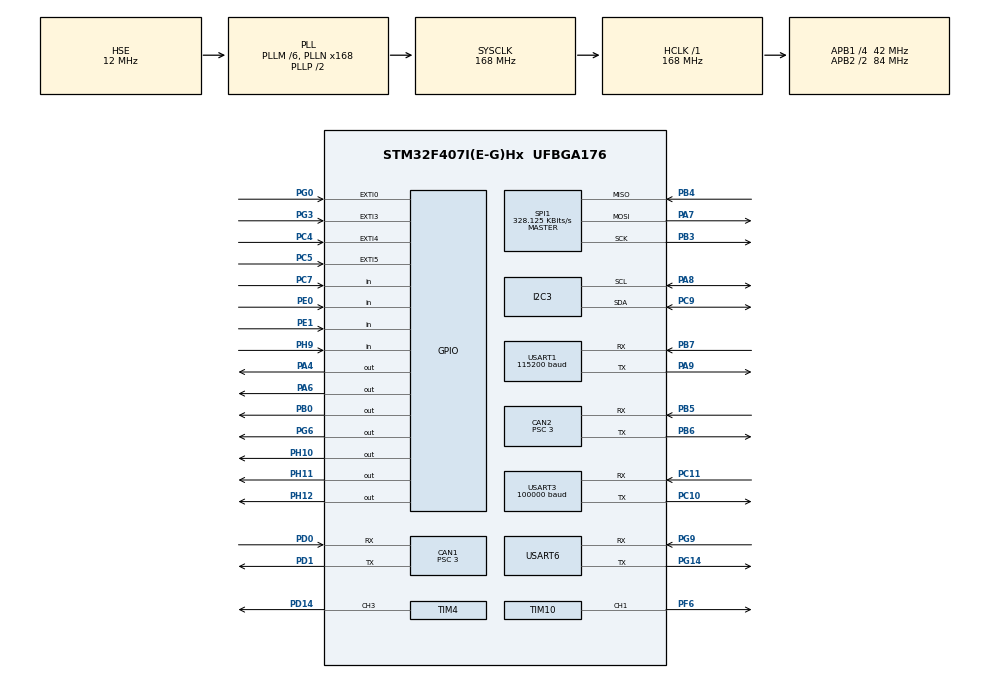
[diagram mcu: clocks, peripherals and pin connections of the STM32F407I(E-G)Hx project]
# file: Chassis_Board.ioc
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CAN1.BS1=CAN_BS1_10TQ
CAN1.BS2=CAN_BS2_3TQ
CAN1.CalculateBaudRate=1000000
CAN1.CalculateTimeBit=1000
CAN1.CalculateTimeQuantum=71.42857142857143
CAN1.Prescaler=3
CAN1.SJW=CAN_SJW_1TQ
CAN2.BS1=CAN_BS1_10TQ
CAN2.BS2=CAN_BS2_3TQ
CAN2.CalculateBaudRate=1000000
CAN2.CalculateTimeBit=1000
CAN2.CalculateTimeQuantum=71.42857142857143
CAN2.Prescaler=3
Dma.Request0=SPI1_RX
Dma.Request1=SPI1_TX
Dma.Request2=USART3_RX
Dma.Request3=USART6_RX
Dma.Request4=USART6_TX
Dma.Request5=USART1_TX
Dma.Request6=USART1_RX
Dma.SPI1_RX.0.Direction=DMA_PERIPH_TO_MEMORY
Dma.SPI1_RX.0.FIFOMode=DMA_FIFOMODE_DISABLE
Dma.SPI1_RX.0.Instance=DMA2_Stream2
Dma.SPI1_RX.0.MemDataAlignment=DMA_MDATAALIGN_BYTE
Dma.SPI1_RX.0.MemInc=DMA_MINC_ENABLE
Dma.SPI1_RX.0.Mode=DMA_NORMAL
Dma.SPI1_RX.0.PeriphDataAlignment=DMA_PDATAALIGN_BYTE
Dma.SPI1_RX.0.PeriphInc=DMA_PINC_DISABLE
Dma.SPI1_RX.0.Priority=DMA_PRIORITY_VERY_HIGH
Dma.SPI1_TX.1.Direction=DMA_MEMORY_TO_PERIPH
Dma.SPI1_TX.1.FIFOMode=DMA_FIFOMODE_DISABLE
Dma.SPI1_TX.1.Instance=DMA2_Stream3
Dma.SPI1_TX.1.MemDataAlignment=DMA_MDATAALIGN_BYTE
Dma.SPI1_TX.1.MemInc=DMA_MINC_ENABLE
Dma.SPI1_TX.1.Mode=DMA_NORMAL
Dma.SPI1_TX.1.PeriphDataAlignment=DMA_PDATAALIGN_BYTE
Dma.SPI1_TX.1.PeriphInc=DMA_PINC_DISABLE
Dma.SPI1_TX.1.Priority=DMA_PRIORITY_HIGH
Dma.USART1_RX.6.Direction=DMA_PERIPH_TO_MEMORY
Dma.USART1_RX.6.FIFOMode=DMA_FIFOMODE_DISABLE
Dma.USART1_RX.6.Instance=DMA2_Stream5
Dma.USART1_RX.6.MemDataAlignment=DMA_MDATAALIGN_BYTE
Dma.USART1_RX.6.MemInc=DMA_MINC_ENABLE
Dma.USART1_RX.6.Mode=DMA_NORMAL
Dma.USART1_RX.6.PeriphDataAlignment=DMA_PDATAALIGN_BYTE
Dma.USART1_RX.6.PeriphInc=DMA_PINC_DISABLE
Dma.USART1_RX.6.Priority=DMA_PRIORITY_HIGH
Dma.USART1_TX.5.Direction=DMA_MEMORY_TO_PERIPH
Dma.USART1_TX.5.FIFOMode=DMA_FIFOMODE_DISABLE
Dma.USART1_TX.5.Instance=DMA2_Stream7
Dma.USART1_TX.5.MemDataAlignment=DMA_MDATAALIGN_BYTE
Dma.USART1_TX.5.MemInc=DMA_MINC_ENABLE
Dma.USART1_TX.5.Mode=DMA_NORMAL
Dma.USART1_TX.5.PeriphDataAlignment=DMA_PDATAALIGN_BYTE
Dma.USART1_TX.5.PeriphInc=DMA_PINC_DISABLE
Dma.USART1_TX.5.Priority=DMA_PRIORITY_VERY_HIGH
Dma.USART3_RX.2.Direction=DMA_PERIPH_TO_MEMORY
Dma.USART3_RX.2.FIFOMode=DMA_FIFOMODE_DISABLE
Dma.USART3_RX.2.Instance=DMA1_Stream1
Dma.USART3_RX.2.MemDataAlignment=DMA_MDATAALIGN_BYTE
Dma.USART3_RX.2.MemInc=DMA_MINC_ENABLE
Dma.USART3_RX.2.Mode=DMA_NORMAL
Dma.USART3_RX.2.PeriphDataAlignment=DMA_PDATAALIGN_BYTE
Dma.USART3_RX.2.PeriphInc=DMA_PINC_DISABLE
Dma.USART3_RX.2.Priority=DMA_PRIORITY_LOW
Dma.USART6_RX.3.Direction=DMA_PERIPH_TO_MEMORY
Dma.USART6_RX.3.FIFOMode=DMA_FIFOMODE_DISABLE
Dma.USART6_RX.3.Instance=DMA2_Stream1
Dma.USART6_RX.3.MemDataAlignment=DMA_MDATAALIGN_BYTE
Dma.USART6_RX.3.MemInc=DMA_MINC_ENABLE
Dma.USART6_RX.3.Mode=DMA_NORMAL
Dma.USART6_RX.3.PeriphDataAlignment=DMA_PDATAALIGN_BYTE
Dma.USART6_RX.3.PeriphInc=DMA_PINC_DISABLE
Dma.USART6_RX.3.Priority=DMA_PRIORITY_HIGH
Dma.USART6_TX.4.Direction=DMA_MEMORY_TO_PERIPH
Dma.USART6_TX.4.FIFOMode=DMA_FIFOMODE_DISABLE
Dma.USART6_TX.4.Instance=DMA2_Stream6
Dma.USART6_TX.4.MemDataAlignment=DMA_MDATAALIGN_BYTE
Dma.USART6_TX.4.MemInc=DMA_MINC_ENABLE
Dma.USART6_TX.4.Mode=DMA_NORMAL
Dma.USART6_TX.4.PeriphDataAlignment=DMA_PDATAALIGN_BYTE
Dma.USART6_TX.4.PeriphInc=DMA_PINC_DISABLE
Dma.USART6_TX.4.Priority=DMA_PRIORITY_VERY_HIGH
FREERTOS.INCLUDE_eTaskGetState=1
FREERTOS.INCLUDE_pcTaskGetTaskName=1
FREERTOS.INCLUDE_uxTaskGetStackHighWaterMark=1
FREERTOS.INCLUDE_vTaskCleanUpResources=1
FREERTOS.INCLUDE_vTaskDelayUntil=1
FREERTOS.INCLUDE_xEventGroupSetBitFromISR=1
FREERTOS.INCLUDE_xQueueGetMutexHolder=1
FREERTOS.INCLUDE_xSemaphoreGetMutexHolder=1
FREERTOS.INCLUDE_xTaskAbortDelay=1
FREERTOS.INCLUDE_xTaskGetCurrentTaskHandle=1
FREERTOS.INCLUDE_xTaskGetHandle=1
FREERTOS.INCLUDE_xTimerPendFunctionCall=1
FREERTOS.Tasks01=INS_TASK,3,2560,INS_Task,As weak,NULL,Dynamic,NULL,NULL;LED_TASK,-1,128,LED_Task,As weak,NULL,Dynamic,NULL,NULL;Chassis_TASK,1,512,Chassis_Task,As weak,NULL,Dynamic,NULL,NULL;Detect_Task,1,256,detect_task,As weak,NULL,Dynamic,NULL,NULL
FREERTOS.configTOTAL_HEAP_SIZE=35716
FREERTOS.configUSE_TIMERS=1
I2C3.I2C_Mode=I2C_Fast
Mcu.Family=STM32F4
Mcu.Name=STM32F407I(E-G)Hx
Mcu.Package=UFBGA176
NVIC.CAN1_RX0_IRQn=true\:5\:0\:false\:false\:true\:true\:true\:true\:true
NVIC.CAN2_RX0_IRQn=true\:5\:0\:false\:false\:true\:true\:true\:true\:true
NVIC.DMA1_Stream1_IRQn=true\:5\:0\:false\:false\:true\:true\:false\:true\:true
NVIC.DMA2_Stream1_IRQn=true\:5\:0\:false\:false\:true\:true\:false\:true\:true
NVIC.DMA2_Stream2_IRQn=true\:5\:0\:false\:false\:true\:true\:false\:true\:true
NVIC.DMA2_Stream3_IRQn=true\:5\:0\:false\:false\:true\:true\:false\:true\:true
NVIC.DMA2_Stream5_IRQn=true\:5\:0\:false\:false\:true\:true\:false\:true\:true
NVIC.DMA2_Stream6_IRQn=true\:5\:0\:false\:false\:true\:true\:false\:true\:true
NVIC.DMA2_Stream7_IRQn=true\:5\:0\:false\:false\:true\:true\:false\:true\:true
NVIC.EXTI0_IRQn=true\:5\:0\:false\:false\:true\:true\:true\:true\:true
NVIC.EXTI3_IRQn=true\:5\:0\:false\:false\:true\:true\:true\:true\:true
NVIC.EXTI4_IRQn=true\:5\:0\:false\:false\:true\:true\:true\:true\:true
NVIC.EXTI9_5_IRQn=true\:5\:0\:false\:false\:true\:true\:true\:true\:true
NVIC.PriorityGroup=NVIC_PRIORITYGROUP_4
NVIC.TIM2_IRQn=true\:15\:0\:false\:false\:true\:false\:false\:true\:true
NVIC.TimeBase=TIM2_IRQn
NVIC.TimeBaseIP=TIM2
NVIC.USART1_IRQn=true\:5\:0\:false\:false\:true\:true\:true\:true\:true
NVIC.USART3_IRQn=true\:5\:0\:false\:false\:true\:true\:true\:true\:true
NVIC.USART6_IRQn=true\:5\:0\:false\:false\:true\:true\:true\:true\:true
PA13.Mode=Serial_Wire
PA13.Signal=SYS_JTMS-SWDIO
PA14.Mode=Serial_Wire
PA14.Signal=SYS_JTCK-SWCLK
PA4.GPIO_PuPd=GPIO_PULLUP
PA4.GPIO_Speed=GPIO_SPEED_FREQ_HIGH
PA4.PinState=GPIO_PIN_SET
PA4.Signal=GPIO_Output
PA6.GPIO_ModeDefaultOutputPP=GPIO_MODE_OUTPUT_OD
PA6.GPIO_PuPd=GPIO_NOPULL
PA6.Signal=GPIO_Output
PA7.GPIO_Mode=GPIO_MODE_AF_PP
PA7.GPIO_PuPd=GPIO_PULLUP
PA7.GPIO_Speed=GPIO_SPEED_FREQ_VERY_HIGH
PA7.Mode=Full_Duplex_Master
PA7.Signal=SPI1_MOSI
PA8.GPIO_Mode=GPIO_MODE_AF_OD
PA8.GPIO_Pu=GPIO_PULLUP
PA8.GPIO_Speed=GPIO_SPEED_FREQ_VERY_HIGH
PA8.Mode=I2C
PA8.Signal=I2C3_SCL
PA9.Mode=Asynchronous
PA9.Signal=USART1_TX
PB0.GPIO_ModeDefaultOutputPP=GPIO_MODE_OUTPUT_PP
PB0.GPIO_PuPd=GPIO_PULLUP
PB0.GPIO_Speed=GPIO_SPEED_FREQ_HIGH
PB0.PinState=GPIO_PIN_SET
PB0.Signal=GPIO_Output
PB14.GPIO_ModeDefaultPP=GPIO_MODE_AF_PP
PB14.GPIO_PuPd=GPIO_PULLUP
PB14.GPIO_Speed=GPIO_SPEED_FREQ_VERY_HIGH
PB14.Signal=S_TIM12_CH1
PB15.GPIO_ModeDefaultPP=GPIO_MODE_AF_PP
PB15.GPIO_PuPd=GPIO_PULLUP
PB15.GPIO_Speed=GPIO_SPEED_FREQ_VERY_HIGH
PB15.Signal=S_TIM12_CH2
PB3.GPIO_Mode=GPIO_MODE_AF_PP
PB3.GPIO_PuPd=GPIO_PULLUP
PB3.GPIO_Speed=GPIO_SPEED_FREQ_VERY_HIGH
PB3.Mode=Full_Duplex_Master
PB3.Signal=SPI1_SCK
PB4.GPIO_Mode=GPIO_MODE_AF_PP
PB4.GPIO_PuPd=GPIO_PULLUP
PB4.GPIO_Speed=GPIO_SPEED_FREQ_VERY_HIGH
PB4.Mode=Full_Duplex_Master
PB4.Signal=SPI1_MISO
PB5.Mode=CAN_Activate
PB5.Signal=CAN2_RX
PB6.Mode=CAN_Activate
PB6.Signal=CAN2_TX
PB7.Mode=Asynchronous
PB7.Signal=USART1_RX
PC10.GPIO_ModeDefaultPP=GPIO_MODE_AF_PP
PC10.GPIO_PuPd=GPIO_PULLUP
PC10.GPIO_Speed=GPIO_SPEED_FREQ_VERY_HIGH
PC10.Mode=Asynchronous
PC10.Signal=USART3_TX
PC11.GPIO_ModeDefaultPP=GPIO_MODE_AF_PP
PC11.GPIO_PuPd=GPIO_PULLUP
PC11.GPIO_Speed=GPIO_SPEED_FREQ_VERY_HIGH
PC11.Mode=Asynchronous
PC11.Signal=USART3_RX
PC4.GPIO_ModeDefaultEXTI=GPIO_MODE_IT_FALLING
PC4.GPIO_PuPd=GPIO_PULLUP
PC4.Signal=GPXTI4
PC5.GPIO_ModeDefaultEXTI=GPIO_MODE_IT_FALLING
PC5.GPIO_PuPd=GPIO_PULLUP
PC5.Signal=GPXTI5
PC7.GPIO_PuPd=GPIO_PULLDOWN
PC7.Signal=GPIO_Input
PC8.GPIO_ModeDefaultPP=GPIO_MODE_AF_PP
PC8.GPIO_PuPd=GPIO_PULLUP
PC8.GPIO_Speed=GPIO_SPEED_FREQ_VERY_HIGH
PC8.Signal=S_TIM3_CH3
PC9.GPIO_Mode=GPIO_MODE_AF_OD
PC9.GPIO_Pu=GPIO_PULLUP
PC9.GPIO_Speed=GPIO_SPEED_FREQ_VERY_HIGH
PC9.Mode=I2C
PC9.Signal=I2C3_SDA
PD0.Mode=CAN_Activate
PD0.Signal=CAN1_RX
PD1.Mode=CAN_Activate
PD1.Signal=CAN1_TX
PD14.GPIO_PuPd=GPIO_PULLUP
PD14.GPIO_Speed=GPIO_SPEED_FREQ_VERY_HIGH
PD14.Signal=S_TIM4_CH3
PE0.GPIO_PuPd=GPIO_PULLDOWN
PE0.Signal=GPIO_Input
PE1.GPIO_PuPd=GPIO_PULLDOWN
PE1.Signal=GPIO_Input
PE11.GPIO_ModeDefaultPP=GPIO_MODE_AF_PP
PE11.GPIO_PuPd=GPIO_PULLUP
PE11.GPIO_Speed=GPIO_SPEED_FREQ_VERY_HIGH
PE11.Signal=S_TIM1_CH2
PE13.GPIO_PuPd=GPIO_PULLUP
PE13.GPIO_Speed=GPIO_SPEED_FREQ_VERY_HIGH
PE13.Signal=S_TIM1_CH3
PF6.GPIO_PuPd=GPIO_PULLUP
PF6.GPIO_Speed=GPIO_SPEED_FREQ_VERY_HIGH
PF6.Signal=S_TIM10_CH1
PG0.GPIO_ModeDefaultEXTI=GPIO_MODE_IT_FALLING
PG0.GPIO_PuPd=GPIO_PULLUP
PG0.Signal=GPXTI0
PG14.GPIO_ModeDefaultPP=GPIO_MODE_AF_PP
PG14.GPIO_PuPd=GPIO_PULLUP
PG14.GPIO_Speed=GPIO_SPEED_FREQ_VERY_HIGH
PG14.Mode=Asynchronous
PG14.Signal=USART6_TX
PG3.GPIO_ModeDefaultEXTI=GPIO_MODE_IT_FALLING
PG3.GPIO_PuPd=GPIO_PULLUP
PG3.Signal=GPXTI3
PG6.GPIO_ModeDefaultOutputPP=GPIO_MODE_OUTPUT_PP
PG6.GPIO_PuPd=GPIO_PULLUP
PG6.GPIO_Speed=GPIO_SPEED_FREQ_HIGH
PG6.PinState=GPIO_PIN_SET
PG6.Signal=GPIO_Output
PG9.GPIO_ModeDefaultPP=GPIO_MODE_AF_PP
PG9.GPIO_PuPd=GPIO_PULLUP
PG9.GPIO_Speed=GPIO_SPEED_FREQ_VERY_HIGH
PG9.Mode=Asynchronous
PG9.Signal=USART6_RX
PH0-OSC_IN.Mode=HSE-External-Oscillator
PH0-OSC_IN.Signal=RCC_OSC_IN
PH1-OSC_OUT.Mode=HSE-External-Oscillator
PH1-OSC_OUT.Signal=RCC_OSC_OUT
PH10.GPIO_ModeDefaultOutputPP=GPIO_MODE_OUTPUT_PP
PH10.GPIO_PuPd=GPIO_PULLDOWN
PH10.GPIO_Speed=GPIO_SPEED_FREQ_VERY_HIGH
PH10.PinState=GPIO_PIN_RESET
PH10.Signal=GPIO_Output
PH11.GPIO_ModeDefaultOutputPP=GPIO_MODE_OUTPUT_PP
PH11.GPIO_PuPd=GPIO_PULLDOWN
PH11.GPIO_Speed=GPIO_SPEED_FREQ_VERY_HIGH
PH11.PinState=GPIO_PIN_RESET
PH11.Signal=GPIO_Output
PH12.GPIO_ModeDefaultOutputPP=GPIO_MODE_OUTPUT_PP
PH12.GPIO_PuPd=GPIO_PULLDOWN
PH12.GPIO_Speed=GPIO_SPEED_FREQ_VERY_HIGH
PH12.PinState=GPIO_PIN_RESET
PH12.Signal=GPIO_Output
PH9.GPIO_PuPd=GPIO_PULLDOWN
PH9.Signal=GPIO_Input
ProjectManager.HeapSize=0x2000
ProjectManager.StackSize=0x2000
ProjectManager.TargetToolchain=MDK-ARM V5
RCC.48MHZClocksFreq_Value=48000000
RCC.AHBFreq_Value=168000000
RCC.APB1CLKDivider=RCC_HCLK_DIV4
RCC.APB1Freq_Value=42000000
RCC.APB1TimFreq_Value=84000000
RCC.APB2CLKDivider=RCC_HCLK_DIV2
RCC.APB2Freq_Value=84000000
RCC.APB2TimFreq_Value=168000000
RCC.CortexFreq_Value=168000000
RCC.HCLKFreq_Value=168000000
RCC.HSE_VALUE=12000000
RCC.HSI_VALUE=16000000
RCC.LSE_VALUE=32768
RCC.PLLM=6
RCC.PLLN=168
RCC.PLLQ=7
RCC.PLLSourceVirtual=RCC_PLLSOURCE_HSE
RCC.SYSCLKFreq_VALUE=168000000
RCC.SYSCLKSource=RCC_SYSCLKSOURCE_PLLCLK
RCC.VCOOutputFreq_Value=336000000
SH.S_TIM10_CH1.0=TIM10_CH1,PWM Generation1 CH1
SH.S_TIM12_CH1.0=TIM12_CH1
SH.S_TIM12_CH2.0=TIM12_CH2
SH.S_TIM1_CH2.0=TIM1_CH2
SH.S_TIM1_CH3.0=TIM1_CH3
SH.S_TIM3_CH3.0=TIM3_CH3
SH.S_TIM4_CH3.0=TIM4_CH3,PWM Generation3 CH3
SPI1.BaudRatePrescaler=SPI_BAUDRATEPRESCALER_256
SPI1.CLKPhase=SPI_PHASE_2EDGE
SPI1.CLKPolarity=SPI_POLARITY_HIGH
SPI1.CalculateBaudRate=328.125 KBits/s
SPI1.Direction=SPI_DIRECTION_2LINES
SPI1.Mode=SPI_MODE_MASTER
SPI1.VirtualType=VM_MASTER
TIM10.Channel=TIM_CHANNEL_1
TIM10.Period=4999
TIM4.Channel-PWM\ Generation3\ CH3=TIM_CHANNEL_3
TIM4.Period=20999
USART1.BaudRate=115200
USART1.VirtualMode=VM_ASYNC
USART3.BaudRate=100000
USART3.VirtualMode=VM_ASYNC
USART6.VirtualMode=VM_ASYNC
VP_CRC_VS_CRC.Mode=CRC_Activate
VP_FREERTOS_VS_CMSIS_V1.Mode=CMSIS_V1
VP_SYS_VS_tim2.Mode=TIM2
VP_TIM10_VS_ClockSourceINT.Mode=Enable_Timer
VP_TIM4_VS_ClockSourceINT.Mode=Internal
board=custom

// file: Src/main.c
/* USER CODE BEGIN Header */
/**
  ******************************************************************************
  * @file           : main.c
  * @brief          : Main program body
  ******************************************************************************
  * @attention
  *
  * Copyright (c) 2025 STMicroelectronics.
  * All rights reserved.
  *
  * This software is licensed under terms that can be found in the LICENSE file
  * in the root directory of this software component.
  * If no LICENSE file comes with this software, it is provided AS-IS.
  *
  ******************************************************************************
  */
/* USER CODE END Header */
#include "main.h"
#include "cmsis_os.h"
#include "can.h"
#include "crc.h"
#include "dma.h"
#include "i2c.h"
#include "spi.h"
#include "tim.h"
#include "usart.h"
#include "gpio.h"

/* USER CODE BEGIN Includes */
#include "remote_control.h"
#include "bsp_can_chassis.h"
#include "Can_Timer_Task.h"
#include "bsp_dwt.h"
#include "bsp_delay.h"
#include "bsp_buzzer.h"
/* USER CODE END Includes */

void SystemClock_Config(void);
void MX_FREERTOS_Init(void);

int main(void)
{

  /* MCU Configuration--------------------------------------------------------*/

  /* Reset of all peripherals, Initializes the Flash interface and the Systick. */
  HAL_Init();

  /* Configure the system clock */
  SystemClock_Config();

  /* Initialize all configured peripherals */
  MX_GPIO_Init();
  MX_DMA_Init();
  MX_I2C3_Init();
  MX_SPI1_Init();
  MX_TIM10_Init();
  MX_USART3_UART_Init();
  MX_CAN1_Init();
  MX_CAN2_Init();
  MX_USART6_UART_Init();
  MX_USART1_UART_Init();
  MX_CRC_Init();
  MX_TIM4_Init();
  /* USER CODE BEGIN 2 */
  delay_init(); // 一定要有，INS_task会用到delay_us
  HAL_TIM_PWM_Start(&htim10, TIM_CHANNEL_1); // 用于对陀螺仪进行恒温处理
  HAL_TIM_PWM_Start(&htim4, TIM_CHANNEL_3); // 蜂鸣器pwm
  buzzer_play_eva();
  HAL_TIM_PWM_Stop(&htim4, TIM_CHANNEL_3); // 用完蜂鸣器就关掉省资源
  /***************CAN初始化*****************/
  Create_Can_Send_Queues(); // 创建can发送队列
  Create_Can_Send_Timers(); //创建can发送定时器任务
  Can_Filter_Init();
  Can_Msg_Init(); //初始化can消息
  /*****************************************/
  //remote_control_init(); //配置并使能usart3的DMA接收和空闲中断，在没有云台需要直接把遥控器接收机插在底盘C板上时使用
  // DWT_Init(CPU_FREQ_MHZ); //需要精确延时或看一段代码的运行时长时开启

  /* USER CODE END 2 */

  /* Call init function for freertos objects (in cmsis_os2.c) */
  MX_FREERTOS_Init();

  /* Start scheduler */
  osKernelStart();

  /* We should never get here as control is now taken by the scheduler */

  /* Infinite loop */
  while (1)
  {

  }
}

void SystemClock_Config(void)
{
  RCC_OscInitTypeDef RCC_OscInitStruct = {0};
  RCC_ClkInitTypeDef RCC_ClkInitStruct = {0};

  /** Configure the main internal regulator output voltage
  */
  __HAL_RCC_PWR_CLK_ENABLE();
  __HAL_PWR_VOLTAGESCALING_CONFIG(PWR_REGULATOR_VOLTAGE_SCALE1);

  /** Initializes the RCC Oscillators according to the specified parameters
  * in the RCC_OscInitTypeDef structure.
  */
  RCC_OscInitStruct.OscillatorType = RCC_OSCILLATORTYPE_HSE;
  RCC_OscInitStruct.HSEState = RCC_HSE_ON;
  RCC_OscInitStruct.PLL.PLLState = RCC_PLL_ON;
  RCC_OscInitStruct.PLL.PLLSource = RCC_PLLSOURCE_HSE;
  RCC_OscInitStruct.PLL.PLLM = 6;
  RCC_OscInitStruct.PLL.PLLN = 168;
  RCC_OscInitStruct.PLL.PLLP = RCC_PLLP_DIV2;
  RCC_OscInitStruct.PLL.PLLQ = 7;
  if (HAL_RCC_OscConfig(&RCC_OscInitStruct) != HAL_OK)
  {
    Error_Handler();
  }

  /** Initializes the CPU, AHB and APB buses clocks
  */
  RCC_ClkInitStruct.ClockType = RCC_CLOCKTYPE_HCLK|RCC_CLOCKTYPE_SYSCLK
                              |RCC_CLOCKTYPE_PCLK1|RCC_CLOCKTYPE_PCLK2;
  RCC_ClkInitStruct.SYSCLKSource = RCC_SYSCLKSOURCE_PLLCLK;
  RCC_ClkInitStruct.AHBCLKDivider = RCC_SYSCLK_DIV1;
  RCC_ClkInitStruct.APB1CLKDivider = RCC_HCLK_DIV4;
  RCC_ClkInitStruct.APB2CLKDivider = RCC_HCLK_DIV2;

  if (HAL_RCC_ClockConfig(&RCC_ClkInitStruct, FLASH_LATENCY_5) != HAL_OK)
  {
    Error_Handler();
  }
}

void HAL_TIM_PeriodElapsedCallback(TIM_HandleTypeDef *htim)
{
  if (htim->Instance == TIM2) {
    HAL_IncTick();
  }
}

void Error_Handler(void)
{
  __disable_irq();
  while (1)
  {
  }
}

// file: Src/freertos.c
/* USER CODE BEGIN Header */
/**
  ******************************************************************************
  * File Name          : freertos.c
  * Description        : Code for freertos applications
  ******************************************************************************
  * @attention
  *
  * Copyright (c) 2025 STMicroelectronics.
  * All rights reserved.
  *
  * This software is licensed under terms that can be found in the LICENSE file
  * in the root directory of this software component.
  * If no LICENSE file comes with this software, it is provided AS-IS.
  *
  ******************************************************************************
  */
/* USER CODE END Header */

#include "FreeRTOS.h"
#include "task.h"
#include "main.h"
#include "cmsis_os.h"

osThreadId INS_TASKHandle;
osThreadId LED_TASKHandle;
osThreadId Chassis_TASKHandle;
osThreadId Detect_TaskHandle;

void INS_Task(void const * argument);
void LED_Task(void const * argument);
void Chassis_Task(void const * argument);
void detect_task(void const * argument);

void MX_FREERTOS_Init(void); /* (MISRA C 2004 rule 8.1) */

/* GetIdleTaskMemory prototype (linked to static allocation support) */
void vApplicationGetIdleTaskMemory( StaticTask_t **ppxIdleTaskTCBBuffer, StackType_t **ppxIdleTaskStackBuffer, uint32_t *pulIdleTaskStackSize );

/* GetTimerTaskMemory prototype (linked to static allocation support) */
void vApplicationGetTimerTaskMemory( StaticTask_t **ppxTimerTaskTCBBuffer, StackType_t **ppxTimerTaskStackBuffer, uint32_t *pulTimerTaskStackSize );

/* USER CODE BEGIN GET_IDLE_TASK_MEMORY */
static StaticTask_t xIdleTaskTCBBuffer;
static StackType_t xIdleStack[configMINIMAL_STACK_SIZE];

void vApplicationGetIdleTaskMemory( StaticTask_t **ppxIdleTaskTCBBuffer, StackType_t **ppxIdleTaskStackBuffer, uint32_t *pulIdleTaskStackSize )
{
  *ppxIdleTaskTCBBuffer = &xIdleTaskTCBBuffer;
  *ppxIdleTaskStackBuffer = &xIdleStack[0];
  *pulIdleTaskStackSize = configMINIMAL_STACK_SIZE;
  /* place for user code */
}
/* USER CODE END GET_IDLE_TASK_MEMORY */

/* USER CODE BEGIN GET_TIMER_TASK_MEMORY */
static StaticTask_t xTimerTaskTCBBuffer;
static StackType_t xTimerStack[configTIMER_TASK_STACK_DEPTH];

void vApplicationGetTimerTaskMemory( StaticTask_t **ppxTimerTaskTCBBuffer, StackType_t **ppxTimerTaskStackBuffer, uint32_t *pulTimerTaskStackSize )
{
  *ppxTimerTaskTCBBuffer = &xTimerTaskTCBBuffer;
  *ppxTimerTaskStackBuffer = &xTimerStack[0];
  *pulTimerTaskStackSize = configTIMER_TASK_STACK_DEPTH;
  /* place for user code */
}
/* USER CODE END GET_TIMER_TASK_MEMORY */

void MX_FREERTOS_Init(void) {

  /* Create the thread(s) */
  /* definition and creation of INS_TASK */
  osThreadDef(INS_TASK, INS_Task, osPriorityRealtime, 0, 2560);
  INS_TASKHandle = osThreadCreate(osThread(INS_TASK), NULL);

  /* definition and creation of LED_TASK */
  osThreadDef(LED_TASK, LED_Task, osPriorityBelowNormal, 0, 128);
  LED_TASKHandle = osThreadCreate(osThread(LED_TASK), NULL);

  /* definition and creation of Chassis_TASK */
  osThreadDef(Chassis_TASK, Chassis_Task, osPriorityAboveNormal, 0, 512);
  Chassis_TASKHandle = osThreadCreate(osThread(Chassis_TASK), NULL);

  /* definition and creation of Detect_Task */
  osThreadDef(Detect_Task, detect_task, osPriorityAboveNormal, 0, 256);
  Detect_TaskHandle = osThreadCreate(osThread(Detect_Task), NULL);

}

__weak void INS_Task(void const * argument)
{
  for(;;)
  {
    osDelay(1);
  }
}

__weak void LED_Task(void const * argument)
{
  for(;;)
  {
    osDelay(1);
  }
}

__weak void Chassis_Task(void const * argument)
{
  for(;;)
  {
    osDelay(1);
  }
}

__weak void detect_task(void const * argument)
{
  for(;;)
  {
    osDelay(1);
  }
}
